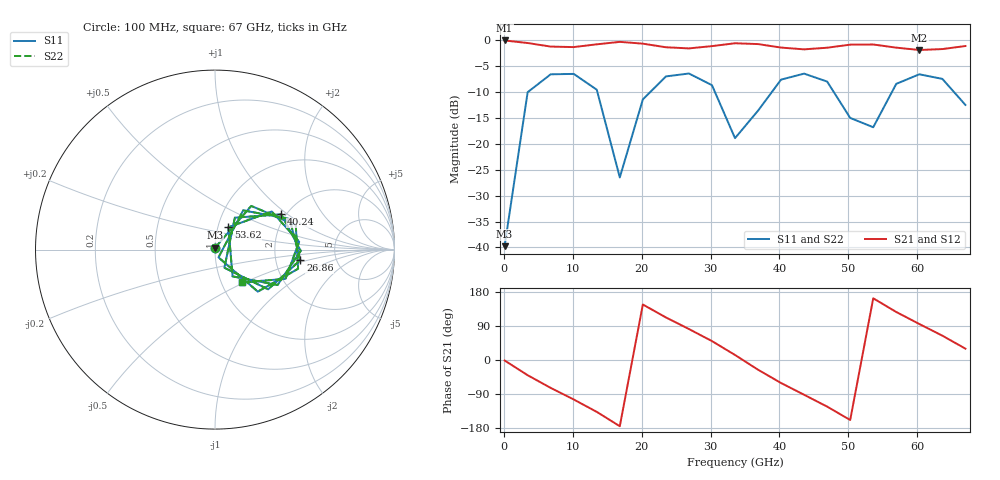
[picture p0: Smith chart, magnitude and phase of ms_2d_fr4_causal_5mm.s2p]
! Touchstone file from project ms_2d_fr4
! Exported from 2D Extractor 2015.0.0
! Variables:
!  t = 35um
!  w = 1mm
!  x_sub = 30mm
!  z_sub = 1.6mm
# GHZ S MA R 50.000000
! Terminal data exported
! Port[1] = signal_A
! Port[2] = signal_B
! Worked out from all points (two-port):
!   21 points, 100 MHz to 67 GHz, reference per port
!   highest |S21| = 0.00 dB at 100 MHz (marker M1); lowest = -1.8 dB at 60.31 GHz (marker M2)
!   |S21| within 3 dB of the highest: start of sweep to end of sweep
!   lowest |S11| = -39.8 dB at 100 MHz (marker M3), VSWR 1.02
!   |S11| at or under -10 dB: start of sweep to 3.448 GHz; 13.58 GHz to 21.22 GHz (7.647 GHz wide, 44 % of centre); 30.65 GHz to 38.88 GHz (8.236 GHz wide, 23.7 % of centre)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
!   |S22| runs from -39.8 to -6.4 dB; largest |S21 - S12| = 0
!   S11 on the Smith chart (normalised r, x): 100 MHz: 1.00, +0.02; 26.86 GHz: 2.77, -0.42; 40.24 GHz: 1.89, +0.90; 53.62 GHz: 1.12, +0.29; 67 GHz: 1.26, -0.49
0.1  0.01028 88.6  0.9997 -1.2  0.9997 -1.2  0.01028 88.6
! Gamma 0 0 0 0 0 0 0 0
! Port Impedance50 0 0 0 0 0 50 0
3.445  0.3161 50.3  0.9444 -40.2  0.9444 -40.2  0.3161 50.3
6.79  0.4707 17.1  0.8722 -73.6  0.8722 -73.6  0.4707 17.1
10.135  0.4751 -13.0  0.8625 -104.2  0.8625 -104.2  0.4751 -13.0
13.48  0.3343 -44.5  0.9176 -136.9  0.9176 -136.9  0.3343 -44.5
16.825  0.04747 -65.8  0.9689 -174.7  0.9689 -174.7  0.04747 -65.8
20.17  0.2692 54.3  0.9312 146.5  0.9312 146.5  0.2692 54.3
23.515  0.4491 22.3  0.8593 112.3  0.8593 112.3  0.4491 22.3
26.86  0.4792 -7.0  0.8379 81.7  0.8379 81.7  0.4792 -7.0
30.205  0.3697 -36.8  0.8815 49.9  0.8815 49.9  0.3697 -36.8
33.55  0.1137 -62.7  0.9393 13.3  0.9393 13.3  0.1137 -62.7
36.895  0.2096 58.1  0.9222 -25.7  0.9222 -25.7  0.2096 58.1
40.24  0.4185 28.0  0.8532 -60.8  0.8532 -60.8  0.4185 28.0
43.585  0.4779 -0.9  0.8202 -91.8  0.8202 -91.8  0.4779 -0.9
46.93  0.4005 -29.5  0.8507 -123.0  0.8507 -123.0  0.4005 -29.5
50.275  0.1784 -56.7  0.9105 -158.4  0.9105 -158.4  0.1784 -56.7
53.62  0.1449 59.1  0.914 162.8  0.914 162.8  0.1449 59.1
56.965  0.3806 33.9  0.8518 126.7  0.8518 126.7  0.3806 33.9
60.31  0.471 5.3  0.8086 95.0  0.8086 95.0  0.471 5.3
63.655  0.4252 -22.5  0.8254 64.2  0.8254 64.2  0.4252 -22.5
67  0.2383 -50.1  0.8829 30.0  0.8829 30.0  0.2383 -50.1
